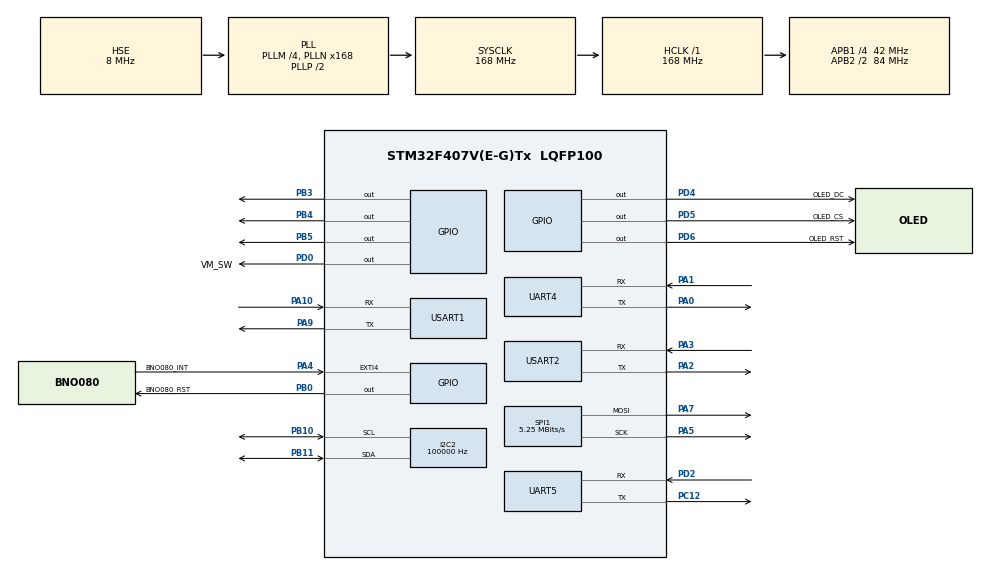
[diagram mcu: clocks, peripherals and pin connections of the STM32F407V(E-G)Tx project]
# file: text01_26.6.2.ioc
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Dma.Request0=UART4_RX
Dma.UART4_RX.0.Direction=DMA_PERIPH_TO_MEMORY
Dma.UART4_RX.0.FIFOMode=DMA_FIFOMODE_DISABLE
Dma.UART4_RX.0.Instance=DMA1_Stream2
Dma.UART4_RX.0.MemDataAlignment=DMA_MDATAALIGN_BYTE
Dma.UART4_RX.0.MemInc=DMA_MINC_ENABLE
Dma.UART4_RX.0.Mode=DMA_NORMAL
Dma.UART4_RX.0.PeriphDataAlignment=DMA_PDATAALIGN_BYTE
Dma.UART4_RX.0.PeriphInc=DMA_PINC_DISABLE
Dma.UART4_RX.0.Priority=DMA_PRIORITY_HIGH
FREERTOS.Tasks01=defaultTask,24,128,StartDefaultTask,Default,NULL,Dynamic,NULL,NULL;TaskControl,40,256,StartControl,Default,NULL,Dynamic,NULL,NULL;SensorTask,24,256,StartSensor,Default,NULL,Dynamic,NULL,NULL;UITask,8,512,StartUI,Default,NULL,Dynamic,NULL,NULL
I2C2.ClockSpeed=100000
I2C2.I2C_Mode=I2C_Fast
Mcu.Family=STM32F4
Mcu.Name=STM32F407V(E-G)Tx
Mcu.Package=LQFP100
NVIC.DMA1_Stream2_IRQn=true\:5\:0\:false\:false\:true\:true\:false\:true\:true
NVIC.EXTI4_IRQn=true\:5\:0\:false\:false\:true\:true\:true\:true\:true
NVIC.PriorityGroup=NVIC_PRIORITYGROUP_4
NVIC.TIM1_UP_TIM10_IRQn=true\:15\:0\:false\:false\:true\:false\:false\:true\:true
NVIC.TimeBase=TIM1_UP_TIM10_IRQn
NVIC.TimeBaseIP=TIM1
NVIC.UART4_IRQn=true\:5\:0\:false\:false\:true\:true\:true\:true\:true
PA0-WKUP.Mode=Asynchronous
PA0-WKUP.Signal=UART4_TX
PA1.Mode=Asynchronous
PA1.Signal=UART4_RX
PA10.Mode=Asynchronous
PA10.Signal=USART1_RX
PA13.Mode=Serial_Wire
PA13.Signal=SYS_JTMS-SWDIO
PA14.Mode=Serial_Wire
PA14.Signal=SYS_JTCK-SWCLK
PA2.Mode=Asynchronous
PA2.Signal=USART2_TX
PA3.Mode=Asynchronous
PA3.Signal=USART2_RX
PA4.GPIO_Label=BNO080_INT
PA4.GPIO_ModeDefaultEXTI=GPIO_MODE_IT_FALLING
PA4.GPIO_PuPd=GPIO_PULLUP
PA4.Signal=GPXTI4
PA5.Mode=TX_Only_Simplex_Unidirect_Master
PA5.Signal=SPI1_SCK
PA7.Mode=TX_Only_Simplex_Unidirect_Master
PA7.Signal=SPI1_MOSI
PA9.Mode=Asynchronous
PA9.Signal=USART1_TX
PB0.GPIO_Label=BNO080_RST
PB0.PinState=GPIO_PIN_SET
PB0.Signal=GPIO_Output
PB10.Mode=I2C
PB10.Signal=I2C2_SCL
PB11.Mode=I2C
PB11.Signal=I2C2_SDA
PB3.PinState=GPIO_PIN_SET
PB3.Signal=GPIO_Output
PB4.PinState=GPIO_PIN_SET
PB4.Signal=GPIO_Output
PB5.GPIO_ModeDefaultOutputPP=GPIO_MODE_OUTPUT_PP
PB5.PinState=GPIO_PIN_SET
PB5.Signal=GPIO_Output
PC12.Mode=Asynchronous
PC12.Signal=UART5_TX
PD0.GPIO_Label=VM_SW
PD0.GPIO_ModeDefaultOutputPP=GPIO_MODE_OUTPUT_PP
PD0.GPIO_PuPd=GPIO_NOPULL
PD0.Signal=GPIO_Output
PD2.Mode=Asynchronous
PD2.Signal=UART5_RX
PD4.GPIO_Label=OLED_DC
PD4.PinState=GPIO_PIN_SET
PD4.Signal=GPIO_Output
PD5.GPIO_Label=OLED_CS
PD5.PinState=GPIO_PIN_SET
PD5.Signal=GPIO_Output
PD6.GPIO_Label=OLED_RST
PD6.PinState=GPIO_PIN_SET
PD6.Signal=GPIO_Output
PH0-OSC_IN.Mode=HSE-External-Oscillator
PH0-OSC_IN.Signal=RCC_OSC_IN
PH1-OSC_OUT.Mode=HSE-External-Oscillator
PH1-OSC_OUT.Signal=RCC_OSC_OUT
ProjectManager.HeapSize=0x200
ProjectManager.StackSize=0x400
ProjectManager.TargetToolchain=MDK-ARM V5.32
RCC.48MHZClocksFreq_Value=84000000
RCC.AHBFreq_Value=168000000
RCC.APB1CLKDivider=RCC_HCLK_DIV4
RCC.APB1Freq_Value=42000000
RCC.APB1TimFreq_Value=84000000
RCC.APB2CLKDivider=RCC_HCLK_DIV2
RCC.APB2Freq_Value=84000000
RCC.APB2TimFreq_Value=168000000
RCC.CortexFreq_Value=168000000
RCC.HCLKFreq_Value=168000000
RCC.HSE_VALUE=8000000
RCC.HSI_VALUE=16000000
RCC.LSE_VALUE=32768
RCC.PLLM=4
RCC.PLLN=168
RCC.PLLSourceVirtual=RCC_PLLSOURCE_HSE
RCC.SYSCLKFreq_VALUE=168000000
RCC.SYSCLKSource=RCC_SYSCLKSOURCE_PLLCLK
RCC.VCOOutputFreq_Value=336000000
SPI1.BaudRatePrescaler=SPI_BAUDRATEPRESCALER_16
SPI1.CalculateBaudRate=5.25 MBits/s
SPI1.Direction=SPI_DIRECTION_2LINES
SPI1.Mode=SPI_MODE_MASTER
SPI1.VirtualType=VM_MASTER
UART4.VirtualMode=Asynchronous
UART5.VirtualMode=Asynchronous
USART1.VirtualMode=VM_ASYNC
USART2.VirtualMode=VM_ASYNC
VP_FREERTOS_VS_CMSIS_V2.Mode=CMSIS_V2
VP_SYS_VS_tim1.Mode=TIM1
board=custom

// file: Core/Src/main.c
/* USER CODE BEGIN Header */
/**
  ******************************************************************************
  * @file           : main.c
  * @brief          : Main program body
  ******************************************************************************
  * @attention
  *
  * Copyright (c) 2026 STMicroelectronics.
  * All rights reserved.
  *
  * This software is licensed under terms that can be found in the LICENSE file
  * in the root directory of this software component.
  * If no LICENSE file comes with this software, it is provided AS-IS.
  *
  ******************************************************************************
  */
/* USER CODE END Header */
#include "main.h"
#include "cmsis_os.h"
#include "dma.h"
#include "i2c.h"
#include "spi.h"
#include "usart.h"
#include "gpio.h"

void SystemClock_Config(void);
void MX_FREERTOS_Init(void);

int main(void)
{

  /* MCU Configuration--------------------------------------------------------*/

  /* Reset of all peripherals, Initializes the Flash interface and the Systick. */
  HAL_Init();

  /* Configure the system clock */
  SystemClock_Config();

  /* Initialize all configured peripherals */
  MX_GPIO_Init();
  MX_DMA_Init();
  MX_USART2_UART_Init();
  MX_USART1_UART_Init();
  MX_UART4_Init();
  MX_UART5_Init();
  MX_SPI1_Init();
  MX_I2C2_Init();

  /* Init scheduler */
  osKernelInitialize();

  /* Call init function for freertos objects (in cmsis_os2.c) */
  MX_FREERTOS_Init();

  /* Start scheduler */
  osKernelStart();

  /* We should never get here as control is now taken by the scheduler */

  /* Infinite loop */
  while (1)
  {

  }
}

void SystemClock_Config(void)
{
  RCC_OscInitTypeDef RCC_OscInitStruct = {0};
  RCC_ClkInitTypeDef RCC_ClkInitStruct = {0};

  /** Configure the main internal regulator output voltage
  */
  __HAL_RCC_PWR_CLK_ENABLE();
  __HAL_PWR_VOLTAGESCALING_CONFIG(PWR_REGULATOR_VOLTAGE_SCALE1);

  /** Initializes the RCC Oscillators according to the specified parameters
  * in the RCC_OscInitTypeDef structure.
  */
  RCC_OscInitStruct.OscillatorType = RCC_OSCILLATORTYPE_HSE;
  RCC_OscInitStruct.HSEState = RCC_HSE_ON;
  RCC_OscInitStruct.PLL.PLLState = RCC_PLL_ON;
  RCC_OscInitStruct.PLL.PLLSource = RCC_PLLSOURCE_HSE;
  RCC_OscInitStruct.PLL.PLLM = 4;
  RCC_OscInitStruct.PLL.PLLN = 168;
  RCC_OscInitStruct.PLL.PLLP = RCC_PLLP_DIV2;
  RCC_OscInitStruct.PLL.PLLQ = 4;
  if (HAL_RCC_OscConfig(&RCC_OscInitStruct) != HAL_OK)
  {
    Error_Handler();
  }

  /** Initializes the CPU, AHB and APB buses clocks
  */
  RCC_ClkInitStruct.ClockType = RCC_CLOCKTYPE_HCLK|RCC_CLOCKTYPE_SYSCLK
                              |RCC_CLOCKTYPE_PCLK1|RCC_CLOCKTYPE_PCLK2;
  RCC_ClkInitStruct.SYSCLKSource = RCC_SYSCLKSOURCE_PLLCLK;
  RCC_ClkInitStruct.AHBCLKDivider = RCC_SYSCLK_DIV1;
  RCC_ClkInitStruct.APB1CLKDivider = RCC_HCLK_DIV4;
  RCC_ClkInitStruct.APB2CLKDivider = RCC_HCLK_DIV2;

  if (HAL_RCC_ClockConfig(&RCC_ClkInitStruct, FLASH_LATENCY_5) != HAL_OK)
  {
    Error_Handler();
  }
}

void HAL_TIM_PeriodElapsedCallback(TIM_HandleTypeDef *htim)
{
  if (htim->Instance == TIM1)
  {
    HAL_IncTick();
  }
}

void Error_Handler(void)
{
  __disable_irq();
  while (1)
  {
  }
}

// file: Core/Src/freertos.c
/* USER CODE BEGIN Header */
/**
  ******************************************************************************
  * File Name          : freertos.c
  * Description        : Code for freertos applications
  ******************************************************************************
  * @attention
  *
  * Copyright (c) 2026 STMicroelectronics.
  * All rights reserved.
  *
  * This software is licensed under terms that can be found in the LICENSE file
  * in the root directory of this software component.
  * If no LICENSE file comes with this software, it is provided AS-IS.
  *
  ******************************************************************************
  */
/* USER CODE END Header */

#include "FreeRTOS.h"
#include "task.h"
#include "main.h"
#include "cmsis_os.h"

/* USER CODE BEGIN Includes */
#include <stdio.h>
#include <string.h>
#include "board.h"
#include "app_tasks.h"
#include "log.h"
/* USER CODE END Includes */

/* Definitions for defaultTask */
osThreadId_t defaultTaskHandle;
const osThreadAttr_t defaultTask_attributes = {
  .name = "defaultTask",
  .stack_size = 128 * 4,
  .priority = (osPriority_t) osPriorityNormal,
};
/* Definitions for TaskControl */
osThreadId_t TaskControlHandle;
const osThreadAttr_t TaskControl_attributes = {
  .name = "TaskControl",
  .stack_size = 256 * 4,
  .priority = (osPriority_t) osPriorityHigh,
};
/* Definitions for SensorTask */
osThreadId_t SensorTaskHandle;
const osThreadAttr_t SensorTask_attributes = {
  .name = "SensorTask",
  .stack_size = 256 * 4,
  .priority = (osPriority_t) osPriorityNormal,
};
/* Definitions for UITask */
osThreadId_t UITaskHandle;
const osThreadAttr_t UITask_attributes = {
  .name = "UITask",
  .stack_size = 512 * 4,
  .priority = (osPriority_t) osPriorityLow,
};

/* Definitions for MotorRxTask */

void StartDefaultTask(void *argument);
void StartControl(void *argument);
void StartSensor(void *argument);
void StartUI(void *argument);

void MX_FREERTOS_Init(void); /* (MISRA C 2004 rule 8.1) */

void MX_FREERTOS_Init(void) {
  /* USER CODE BEGIN Init */
    Board_Init();
  /* USER CODE END Init */

  /* Create the thread(s) */
  /* creation of defaultTask */
  defaultTaskHandle = osThreadNew(StartDefaultTask, NULL, &defaultTask_attributes);

  /* creation of TaskControl */
  TaskControlHandle = osThreadNew(StartControl, NULL, &TaskControl_attributes);

  /* creation of SensorTask */
  SensorTaskHandle = osThreadNew(StartSensor, NULL, &SensorTask_attributes);

  /* creation of UITask */
  UITaskHandle = osThreadNew(StartUI, NULL, &UITask_attributes);

  /* USER CODE BEGIN RTOS_THREADS */
  /* add threads, ... */
  App_RTOS_Init();
  /* USER CODE END RTOS_THREADS */

}

void StartDefaultTask(void *argument)
{
  for(;;)
  {
    osDelay(1);
  }
}
void StartControl(void *argument)
{
  /* USER CODE BEGIN StartControl */
  App_ControlTask(argument);
  /* USER CODE END StartControl */
}

void StartSensor(void *argument)
{
  /* USER CODE BEGIN StartSensor */
  float qi;
  float qj;
  float qk;
  float qreal;
  float yaw_deg;
  BSP_BNO080_EnableGameRotationVector(imu, 100);
  /* Infinite loop */
  for(;;)
  {
      if(BSP_BNO080_DataAvailable(imu))
      {
        BSP_BNO080_GetQuaternion(imu, &qi, &qj, &qk, &qreal);
        /* BNO080输出的姿态四元数 */
        Log_Printf("Quaternion: i=%.3f j=%.3f k=%.3f real=%.3f\r\n",
                   qi, qj, qk, qreal);

        if(BSP_BNO080_GetYaw(imu, &yaw_deg))
        {
          /* 四元数计算出的航向角 */
          Log_Printf("Yaw: %.2f deg\r\n", yaw_deg);
        }
        else
        {
          /* 四元数无效 */
          Log_Printf("Yaw invalid\r\n");
        }
      }
      osDelay(100);
  }
  /* USER CODE END StartSensor */
}

void StartUI(void *argument)
{
  /* USER CODE BEGIN StartUI */
  /* Infinite loop */
  BSP_OLED_Fill(oled, 0x00);

  BSP_OLED_DrawString(oled, 0U, 0U, "OLED TEST");
  BSP_OLED_DrawString(oled, 0U, 54U, "IMU OK");
  BSP_OLED_DrawString(oled, 2U, 0U, "X42S");

  if (BSP_OLED_Update(oled) != HAL_OK)
  {
    /* 刷新OLED屏幕失败 */
    Log_Printf("OLED update FAIL\r\n");
  }

    for(;;)
    {
        BSP_LED_On(led1);
        osDelay(1000);
        BSP_LED_Off(led1);
        BSP_LED_On(led2);
        osDelay(1000);
        BSP_LED_Off(led2);
        BSP_LED_On(led3);
        osDelay(1000);
        BSP_LED_Off(led3);
    }
  /* USER CODE END StartUI */
}

/* USER CODE BEGIN Application */
/* 在接收中断中执行：复制数据并入队 */

/* USER CODE END Application */
